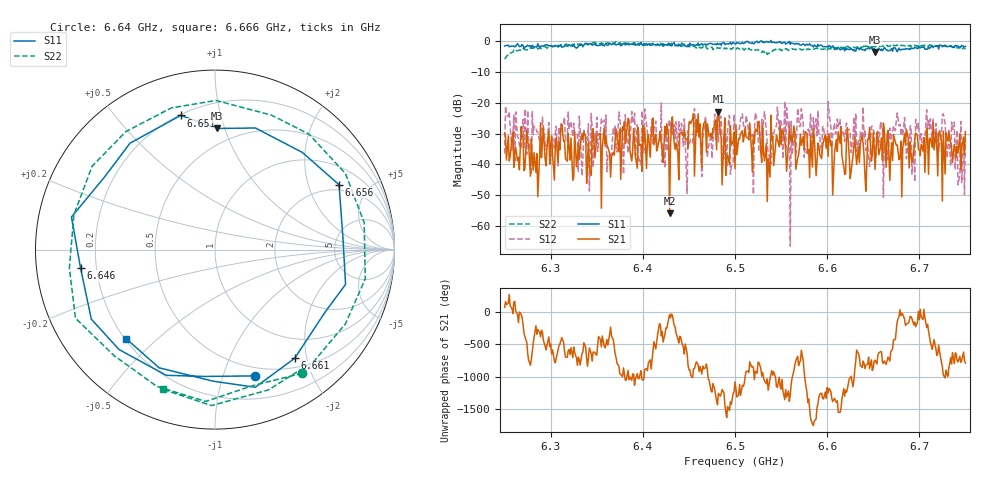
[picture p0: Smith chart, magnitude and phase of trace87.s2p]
# Hz S RI R 50
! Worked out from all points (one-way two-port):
!   401 points, 6.25 GHz to 6.75 GHz, reference 50 ohm
!   highest |S21| = -22.80 dB at 6.482 GHz (marker M1); lowest = -55.9 dB at 6.429 GHz (marker M2)
!   lowest |S11| = -3.4 dB at 6.652 GHz (marker M3), VSWR 5.15, Z = 19 + j47.1 ohm
!   |S11| at or under -10 dB: nowhere
!   |S22| runs from -5.7 to 0.0 dB; largest |S21 - S12| = 0.13
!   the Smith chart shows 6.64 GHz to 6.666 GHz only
!   S11 on the Smith chart (normalised r, x): 6.64 GHz: 0.41, -1.28; 6.646 GHz: 0.14, -0.07; 6.651 GHz: 0.20, +0.76; 6.656 GHz: 1.73, +3.20; 6.661 GHz: 0.65, -1.79; 6.666 GHz: 0.20, -0.40
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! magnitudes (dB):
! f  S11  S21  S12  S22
! 6.25 GHz  -1.5  -29.8  -36.5  -5.7
! 6.284 GHz  -1.6  -42.7  -28.0  -1.9
! 6.334 GHz  -1.0  -30.0  -43.7  -0.8
! 6.418 GHz  -1.2  -31.3  -31.7  -1.4
! 6.429 GHz  -0.8  -55.9  -25.4  -1.8
! 6.482 GHz  -1.0  -22.8  -32.6  -2.2
! 6.5 GHz  -0.8  -41.4  -33.8  -2.6
! 6.538 GHz  -0.1  -44.1  -38.1  -3.8
! 6.556 GHz  -0.7  -42.2  -21.5  -2.4
! 6.562 GHz  -0.5  -32.9  -37.0  -2.4
! 6.57 GHz  -1.0  -34.4  -27.6  -2.5
! 6.584 GHz  -1.4  -40.8  -34.5  -2.4
! 6.64 GHz  -2.6  -37.0  -31.5  -1.5
! 6.646 GHz  -2.4  -28.0  -40.7  -1.2
! 6.651 GHz  -2.3  -34.6  -29.3  -1.7
! 6.652 GHz  -3.4  -41.7  -41.0  -1.7
! 6.656 GHz  -2.2  -36.9  -33.7  -1.6
! 6.661 GHz  -2.5  -26.6  -50.7  -1.6
! 6.666 GHz  -3.1  -28.9  -38.5  -1.6
! 6.668 GHz  -2.9  -45.2  -28.2  -1.6
! 6.71 GHz  -1.8  -43.2  -25.3  -1.4
! 6.75 GHz  -1.6  -29.4  -31.5  -2.5
